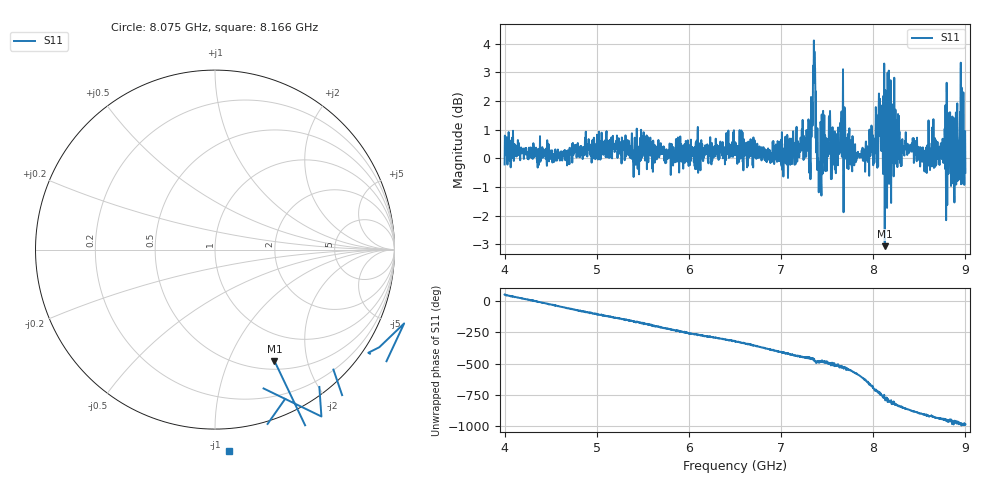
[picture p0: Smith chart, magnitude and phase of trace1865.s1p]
! Created with skrf 1.8.0 (http://scikit-rf.org).
# Hz S RI R 50.0
!freq ReS11 ImS11
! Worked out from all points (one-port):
!   1601 points, 4 GHz to 9 GHz, reference 50 ohm
!   lowest |S11| = -3.1 dB at 8.125 GHz (marker M1), VSWR 5.73, Z = 30.4 - j74.5 ohm
!   |S11| at or under -10 dB: nowhere
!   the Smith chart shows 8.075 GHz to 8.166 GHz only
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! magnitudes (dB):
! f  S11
! 4 GHz  -0.2
! 4.625 GHz  -0.1
! 5.25 GHz  0.2
! 5.875 GHz  0.1
! 6.5 GHz  0.5
! 7.125 GHz  0.6
! 7.297 GHz  1.4
! 7.319 GHz  -0.7
! 7.353 GHz  2.8
! 7.372 GHz  2.3
! 7.397 GHz  0.1
! 7.412 GHz  -0.1
! 7.512 GHz  0.5
! 7.616 GHz  -0.2
! 7.669 GHz  1.2
! 7.75 GHz  0.3
! 7.931 GHz  0.4
! 8.097 GHz  0.9
! 8.125 GHz  -3.1
! 8.178 GHz  2.0
! 8.197 GHz  0.6
! 8.375 GHz  0.3
! 8.566 GHz  0.1
! 8.769 GHz  0.3
! 8.822 GHz  1.4
! 8.856 GHz  0.4
! 8.956 GHz  -0.2
! 9 GHz  -0.5
